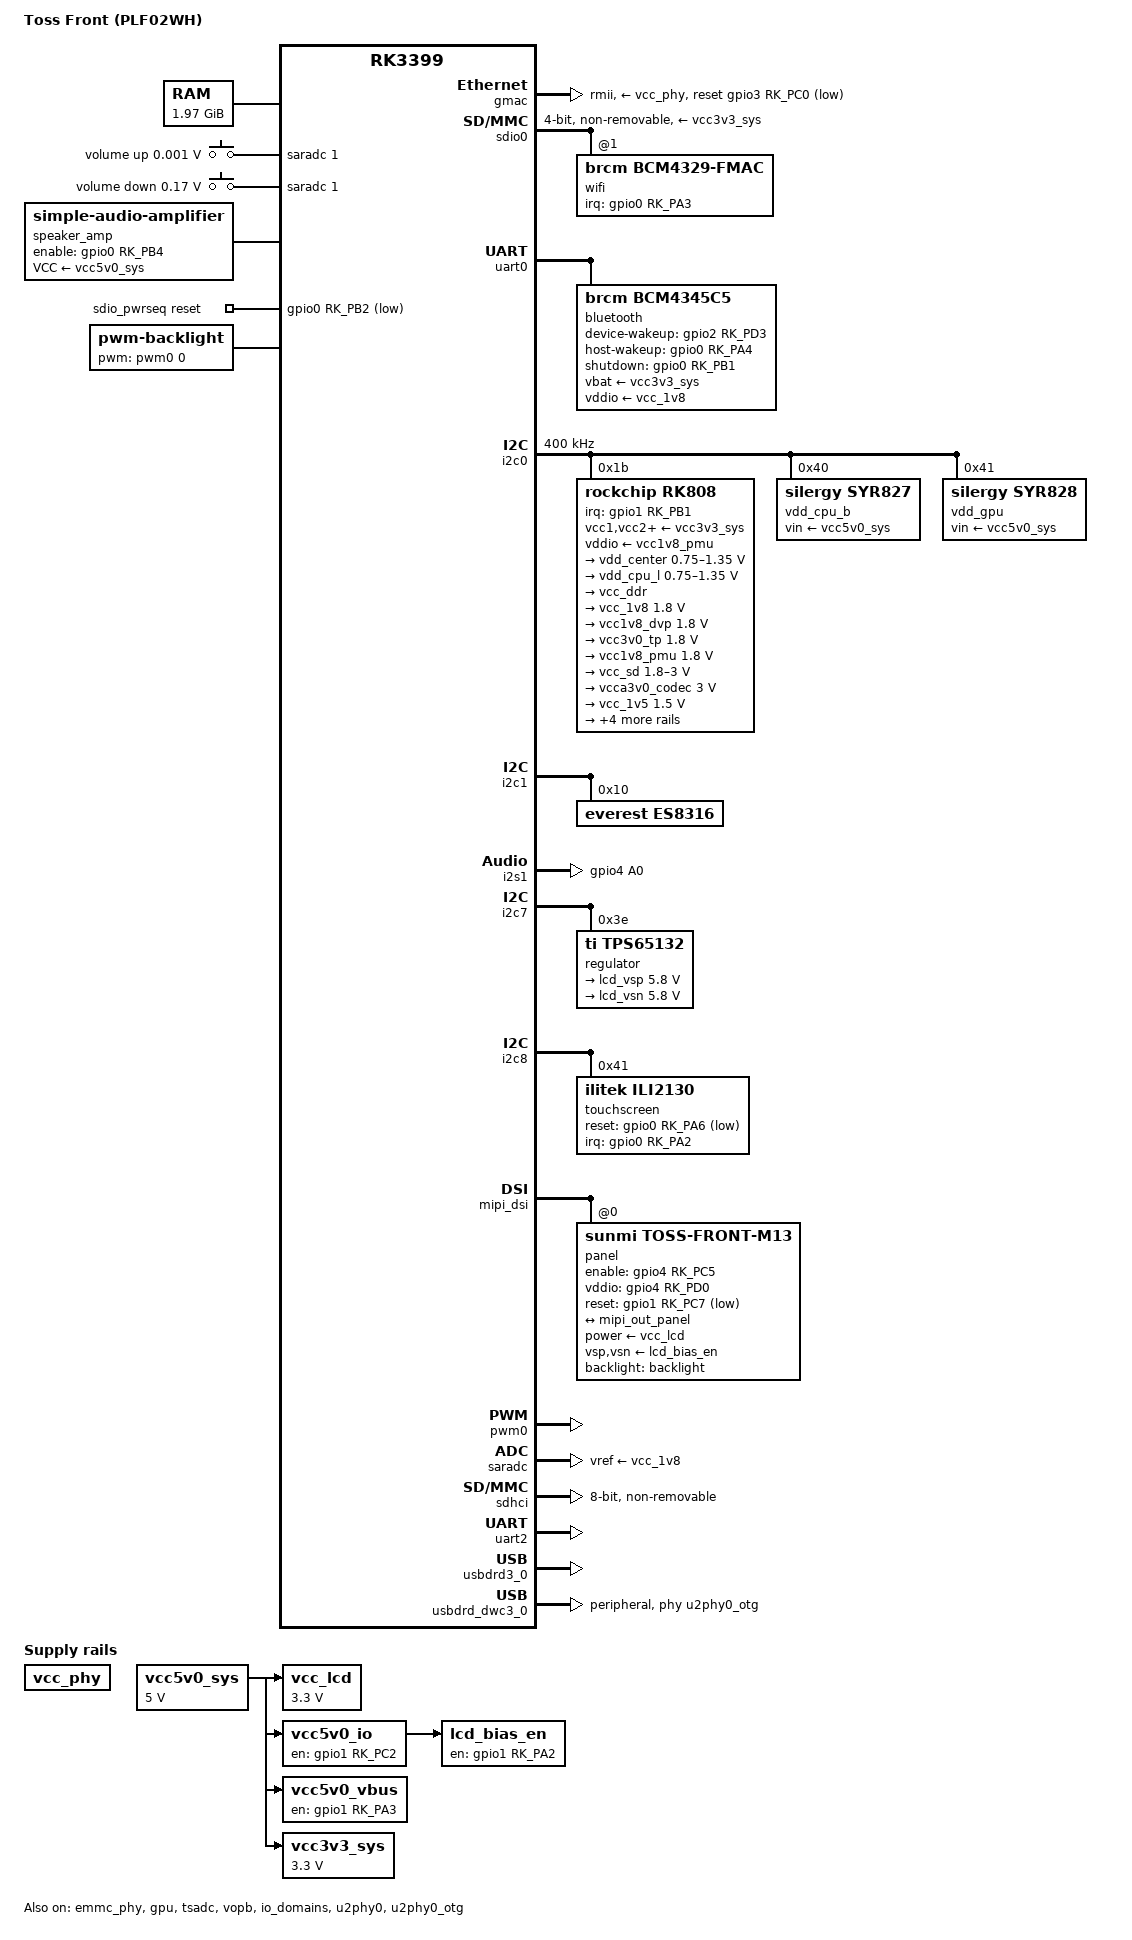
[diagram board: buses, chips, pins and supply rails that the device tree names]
// SPDX-License-Identifier: (GPL-2.0+ OR MIT)
/*
 * 토스 프론트 1.5세대(PLF02WH, SUNMI p681x) — 메인라인 커널용 디바이스 트리
 *
 * 2단계 범위: 디스플레이 없이 부팅해 Micro USB 가젯으로 접속하는 최소 구성.
 * 속성 값은 순정 커널이 실제로 사용하던 디바이스 트리(analysis/device/live-dt.dts)에서 가져왔다.
 *
 * 주의: 순정 U-Boot는 이 DTB를 커널에 전달할 뿐 아니라 자체 드라이버
 * (전원 칩, 버튼, USB)에서도 참조하므로 PMIC와 adc-keys 노드는 순정 구조를 유지한다.
 */

/dts-v1/;
#include <dt-bindings/input/linux-event-codes.h>
#include <dt-bindings/soc/rockchip,boot-mode.h>
#include "rk3399.dtsi"

/ {
	model = "Toss Front (PLF02WH)";
	compatible = "sunmi,toss-front", "rockchip,rk3399";

	aliases {
		mmc0 = &sdhci;
	};

	chosen {
		stdout-path = "serial2:1500000n8";
	};

	memory@200000 {
		device_type = "memory";
		reg = <0x0 0x00200000 0x0 0x08200000>,
		      <0x0 0x0a200000 0x0 0x75e00000>;
	};

	reserved-memory {
		#address-cells = <2>;
		#size-cells = <2>;
		ranges;

		ramoops@110000 {
			compatible = "ramoops";
			reg = <0x0 0x00110000 0x0 0xf0000>;
			record-size = <0x20000>;
			console-size = <0x80000>;
			pmsg-size = <0x50000>;
			ftrace-size = <0x0>;
		};
	};

	adc-keys {
		compatible = "adc-keys";
		io-channels = <&saradc 1>;
		io-channel-names = "buttons";
		keyup-threshold-microvolt = <1800000>;
		poll-interval = <100>;

		vol-up-key {
			label = "volume up";
			linux,code = <KEY_VOLUMEUP>;
			press-threshold-microvolt = <1000>;
		};

		vol-down-key {
			label = "volume down";
			linux,code = <KEY_VOLUMEDOWN>;
			press-threshold-microvolt = <170000>;
		};
	};

	sound {
		compatible = "simple-audio-card";
		simple-audio-card,name = "Toss Front";
		simple-audio-card,format = "i2s";
		simple-audio-card,mclk-fs = <256>;
		simple-audio-card,widgets = "Speaker", "Speaker";
		simple-audio-card,routing =
			"Speaker Amplifier INL", "HPOL",
			"Speaker Amplifier INR", "HPOR",
			"Speaker", "Speaker Amplifier OUTL",
			"Speaker", "Speaker Amplifier OUTR";
		simple-audio-card,aux-devs = <&speaker_amp>;

		simple-audio-card,cpu {
			sound-dai = <&i2s1>;
		};

		simple-audio-card,codec {
			sound-dai = <&es8316>;
		};
	};

	speaker_amp: speaker-amplifier {
		compatible = "simple-audio-amplifier";
		enable-gpios = <&gpio0 RK_PB4 GPIO_ACTIVE_HIGH>;
		sound-name-prefix = "Speaker Amplifier";
		VCC-supply = <&vcc5v0_sys>;
	};

	sdio_pwrseq: sdio-pwrseq {
		compatible = "mmc-pwrseq-simple";
		clocks = <&rk808 1>;
		clock-names = "ext_clock";
		pinctrl-names = "default";
		pinctrl-0 = <&wifi_enable_h>;
		reset-gpios = <&gpio0 RK_PB2 GPIO_ACTIVE_LOW>;
	};

	vcc_phy: regulator-vcc-phy {
		compatible = "regulator-fixed";
		regulator-name = "vcc_phy";
		regulator-always-on;
		regulator-boot-on;
	};

	backlight: backlight {
		compatible = "pwm-backlight";
		pwms = <&pwm0 0 40000 0>;
		brightness-levels = <0 255>;
		num-interpolated-steps = <255>;
		default-brightness-level = <200>;
	};

	vcc_lcd: regulator-vcc-lcd {
		compatible = "regulator-fixed";
		regulator-name = "vcc_lcd";
		regulator-boot-on;
		regulator-min-microvolt = <3300000>;
		regulator-max-microvolt = <3300000>;
		startup-delay-us = <20000>;
		vin-supply = <&vcc5v0_sys>;
	};

	vcc5v0_io: regulator-vcc5v0-io {
		compatible = "regulator-fixed";
		regulator-name = "iov5";
		gpio = <&gpio1 RK_PC2 GPIO_ACTIVE_HIGH>;
		enable-active-high;
		regulator-always-on;
		regulator-boot-on;
		vin-supply = <&vcc5v0_sys>;
	};

	lcd_bias_en: regulator-lcd-bias-en {
		compatible = "regulator-fixed";
		regulator-name = "lcd_bias_en";
		gpio = <&gpio1 RK_PA2 GPIO_ACTIVE_HIGH>;
		enable-active-high;
		startup-delay-us = <10000>;
		vin-supply = <&vcc5v0_io>;
	};

	vcc5v0_vbus: regulator-vcc5v0-vbus {
		compatible = "regulator-fixed";
		regulator-name = "vbus";
		gpio = <&gpio1 RK_PA3 GPIO_ACTIVE_HIGH>;
		enable-active-high;
		regulator-always-on;
		regulator-boot-on;
		vin-supply = <&vcc5v0_sys>;
	};

	vcc5v0_sys: regulator-vcc5v0-sys {
		compatible = "regulator-fixed";
		regulator-name = "vcc5v0_sys";
		regulator-always-on;
		regulator-boot-on;
		regulator-min-microvolt = <5000000>;
		regulator-max-microvolt = <5000000>;
	};

	vcc3v3_sys: regulator-vcc3v3-sys {
		compatible = "regulator-fixed";
		regulator-name = "vcc3v3_sys";
		regulator-always-on;
		regulator-boot-on;
		regulator-min-microvolt = <3300000>;
		regulator-max-microvolt = <3300000>;
		vin-supply = <&vcc5v0_sys>;
	};
};

&cpu_l0 {
	cpu-supply = <&vdd_cpu_l>;
};

&cpu_l1 {
	cpu-supply = <&vdd_cpu_l>;
};

&cpu_l2 {
	cpu-supply = <&vdd_cpu_l>;
};

&cpu_l3 {
	cpu-supply = <&vdd_cpu_l>;
};

&cpu_b0 {
	cpu-supply = <&vdd_cpu_b>;
};

&cpu_b1 {
	cpu-supply = <&vdd_cpu_b>;
};

&emmc_phy {
	status = "okay";
};

&gpu {
	mali-supply = <&vdd_gpu>;
	status = "okay";
};

&tsadc {
	rockchip,hw-tshut-mode = <1>;
	rockchip,hw-tshut-polarity = <1>;
	status = "okay";
};

&gmac {
	assigned-clocks = <&cru SCLK_RMII_SRC>;
	clock_in_out = "output";
	phy-mode = "rmii";
	phy-supply = <&vcc_phy>;
	pinctrl-names = "default";
	pinctrl-0 = <&rmii_pins>;
	snps,reset-gpio = <&gpio3 RK_PC0 GPIO_ACTIVE_LOW>;
	snps,reset-active-low;
	snps,reset-delays-us = <0 10000 150000>;
	tx_delay = <0x22>;
	rx_delay = <0x08>;
	status = "okay";
};

&sdio0 {
	#address-cells = <1>;
	#size-cells = <0>;
	bus-width = <4>;
	cap-sd-highspeed;
	cap-sdio-irq;
	keep-power-in-suspend;
	max-frequency = <50000000>;
	mmc-pwrseq = <&sdio_pwrseq>;
	non-removable;
	pinctrl-names = "default";
	pinctrl-0 = <&sdio0_bus4 &sdio0_cmd &sdio0_clk>;
	sd-uhs-sdr104;
	vmmc-supply = <&vcc3v3_sys>;
	vqmmc-supply = <&vcc_1v8>;
	status = "okay";

	wifi@1 {
		compatible = "brcm,bcm4329-fmac";
		reg = <1>;
		interrupt-parent = <&gpio0>;
		interrupts = <RK_PA3 IRQ_TYPE_LEVEL_HIGH>;
		interrupt-names = "host-wake";
		pinctrl-names = "default";
		pinctrl-0 = <&wifi_host_wake>;
	};
};

&uart0 {
	pinctrl-names = "default";
	pinctrl-0 = <&uart0_xfer &uart0_cts &uart0_rts>;
	uart-has-rtscts;
	status = "okay";

	bluetooth {
		compatible = "brcm,bcm4345c5";
		clocks = <&rk808 1>;
		clock-names = "lpo";
		device-wakeup-gpios = <&gpio2 RK_PD3 GPIO_ACTIVE_HIGH>;
		host-wakeup-gpios = <&gpio0 RK_PA4 GPIO_ACTIVE_HIGH>;
		shutdown-gpios = <&gpio0 RK_PB1 GPIO_ACTIVE_HIGH>;
		max-speed = <1500000>;
		pinctrl-names = "default";
		pinctrl-0 = <&bt_reg_on &bt_dev_wake &bt_host_wake>;
		vbat-supply = <&vcc3v3_sys>;
		vddio-supply = <&vcc_1v8>;
	};
};

&i2c0 {
	clock-frequency = <400000>;
	i2c-scl-rising-time-ns = <168>;
	i2c-scl-falling-time-ns = <4>;
	status = "okay";

	rk808: pmic@1b {
		compatible = "rockchip,rk808";
		reg = <0x1b>;
		interrupt-parent = <&gpio1>;
		interrupts = <RK_PB1 IRQ_TYPE_LEVEL_LOW>;
		#clock-cells = <1>;
		clock-output-names = "rk808-clkout1", "rk808-clkout2";
		pinctrl-names = "default";
		pinctrl-0 = <&pmic_int_l>;
		system-power-controller;
		rockchip,system-power-controller;
		wakeup-source;

		vcc1-supply = <&vcc3v3_sys>;
		vcc2-supply = <&vcc3v3_sys>;
		vcc3-supply = <&vcc3v3_sys>;
		vcc4-supply = <&vcc3v3_sys>;
		vcc6-supply = <&vcc3v3_sys>;
		vcc7-supply = <&vcc3v3_sys>;
		vcc8-supply = <&vcc3v3_sys>;
		vcc9-supply = <&vcc3v3_sys>;
		vcc10-supply = <&vcc3v3_sys>;
		vcc11-supply = <&vcc3v3_sys>;
		vcc12-supply = <&vcc3v3_sys>;
		vddio-supply = <&vcc1v8_pmu>;

		regulators {
			vdd_center: DCDC_REG1 {
				regulator-name = "vdd_center";
				regulator-always-on;
				regulator-boot-on;
				regulator-min-microvolt = <750000>;
				regulator-max-microvolt = <1350000>;
				regulator-ramp-delay = <6001>;
			};

			vdd_cpu_l: DCDC_REG2 {
				regulator-name = "vdd_cpu_l";
				regulator-always-on;
				regulator-boot-on;
				regulator-min-microvolt = <750000>;
				regulator-max-microvolt = <1350000>;
				regulator-ramp-delay = <6001>;
			};

			vcc_ddr: DCDC_REG3 {
				regulator-name = "vcc_ddr";
				regulator-always-on;
				regulator-boot-on;
			};

			vcc_1v8: DCDC_REG4 {
				regulator-name = "vcc_1v8";
				regulator-always-on;
				regulator-boot-on;
				regulator-min-microvolt = <1800000>;
				regulator-max-microvolt = <1800000>;
			};

			vcc1v8_dvp: LDO_REG1 {
				regulator-name = "vcc1v8_dvp";
				regulator-always-on;
				regulator-boot-on;
				regulator-min-microvolt = <1800000>;
				regulator-max-microvolt = <1800000>;
			};

			vcc3v0_tp: LDO_REG2 {
				regulator-name = "vcc3v0_tp";
				regulator-always-on;
				regulator-boot-on;
				regulator-min-microvolt = <1800000>;
				regulator-max-microvolt = <1800000>;
			};

			vcc1v8_pmu: LDO_REG3 {
				regulator-name = "vcc1v8_pmu";
				regulator-always-on;
				regulator-boot-on;
				regulator-min-microvolt = <1800000>;
				regulator-max-microvolt = <1800000>;
			};

			vcc_sd: LDO_REG4 {
				regulator-name = "vcc_sd";
				regulator-always-on;
				regulator-boot-on;
				regulator-min-microvolt = <1800000>;
				regulator-max-microvolt = <3000000>;
			};

			vcca3v0_codec: LDO_REG5 {
				regulator-name = "vcca3v0_codec";
				regulator-always-on;
				regulator-boot-on;
				regulator-min-microvolt = <3000000>;
				regulator-max-microvolt = <3000000>;
			};

			vcc_1v5: LDO_REG6 {
				regulator-name = "vcc_1v5";
				regulator-always-on;
				regulator-boot-on;
				regulator-min-microvolt = <1500000>;
				regulator-max-microvolt = <1500000>;
			};

			vcca1v8_codec: LDO_REG7 {
				regulator-name = "vcca1v8_codec";
				regulator-always-on;
				regulator-boot-on;
				regulator-min-microvolt = <900000>;
				regulator-max-microvolt = <900000>;
			};

			vcc_3v0: LDO_REG8 {
				regulator-name = "vcc_3v0";
				regulator-always-on;
				regulator-boot-on;
				regulator-min-microvolt = <3000000>;
				regulator-max-microvolt = <3000000>;
			};

			vcc3v3_s3: SWITCH_REG1 {
				regulator-name = "vcc3v3_s3";
				regulator-always-on;
				regulator-boot-on;
			};

			vcc3v3_s0: SWITCH_REG2 {
				regulator-name = "vcc3v3_s0";
				regulator-always-on;
				regulator-boot-on;
			};
		};
	};

	vdd_cpu_b: regulator@40 {
		compatible = "silergy,syr827";
		reg = <0x40>;
		fcs,suspend-voltage-selector = <1>;
		pinctrl-names = "default";
		pinctrl-0 = <&vsel1_gpio>;
		regulator-name = "vdd_cpu_b";
		regulator-always-on;
		regulator-boot-on;
		regulator-min-microvolt = <712500>;
		regulator-max-microvolt = <1500000>;
		regulator-ramp-delay = <1000>;
		vin-supply = <&vcc5v0_sys>;
	};

	vdd_gpu: regulator@41 {
		compatible = "silergy,syr828";
		reg = <0x41>;
		fcs,suspend-voltage-selector = <1>;
		pinctrl-names = "default";
		pinctrl-0 = <&vsel2_gpio>;
		regulator-name = "vdd_gpu";
		regulator-always-on;
		regulator-boot-on;
		regulator-min-microvolt = <712500>;
		regulator-max-microvolt = <1500000>;
		regulator-ramp-delay = <1000>;
		vin-supply = <&vcc5v0_sys>;
	};
};

&i2c1 {
	i2c-scl-rising-time-ns = <300>;
	status = "okay";

	es8316: audio-codec@10 {
		compatible = "everest,es8316";
		reg = <0x10>;
		clocks = <&cru SCLK_I2S_8CH_OUT>;
		clock-names = "mclk";
		#sound-dai-cells = <0>;
	};
};

&i2s1 {
	pinctrl-names = "default";
	pinctrl-0 = <&i2s_8ch_mclk_pin>, <&i2s1_2ch_bus>;
	rockchip,capture-channels = <2>;
	rockchip,playback-channels = <2>;
	status = "okay";
};

&i2c7 {
	status = "okay";

	regulator@3e {
		compatible = "ti,tps65132";
		reg = <0x3e>;

		lcd_vsp: outp {
			regulator-name = "lcd_vsp";
			regulator-min-microvolt = <5800000>;
			regulator-max-microvolt = <5800000>;
			regulator-always-on;
			regulator-boot-on;
		};

		lcd_vsn: outn {
			regulator-name = "lcd_vsn";
			regulator-min-microvolt = <5800000>;
			regulator-max-microvolt = <5800000>;
			regulator-always-on;
			regulator-boot-on;
		};
	};
};

&i2c8 {
	status = "okay";

	touchscreen@41 {
		compatible = "ilitek,ili2130";
		reg = <0x41>;
		interrupt-parent = <&gpio0>;
		interrupts = <RK_PA2 IRQ_TYPE_EDGE_RISING>;
		reset-gpios = <&gpio0 RK_PA6 GPIO_ACTIVE_LOW>;
		touchscreen-inverted-x;
		touchscreen-inverted-y;
	};
};

&mipi_dsi {
	status = "okay";

	panel@0 {
		compatible = "sunmi,toss-front-m13";
		reg = <0>;
		backlight = <&backlight>;
		power-supply = <&vcc_lcd>;
		vsp-supply = <&lcd_bias_en>;
		vsn-supply = <&lcd_bias_en>;
		enable-gpios = <&gpio4 RK_PC5 GPIO_ACTIVE_HIGH>;
		vddio-gpios = <&gpio4 RK_PD0 GPIO_ACTIVE_HIGH>;
		reset-gpios = <&gpio1 RK_PC7 GPIO_ACTIVE_LOW>;

		port {
			mipi_in_panel: endpoint {
				remote-endpoint = <&mipi_out_panel>;
			};
		};
	};
};

&mipi_out {
	mipi_out_panel: endpoint {
		remote-endpoint = <&mipi_in_panel>;
	};
};

&pwm0 {
	status = "okay";
};

&vopb {
	status = "okay";
};

&vopb_mmu {
	status = "okay";
};

&io_domains {
	audio-supply = <&vcc1v8_dvp>;
	bt656-supply = <&vcc_1v8>;
	gpio1830-supply = <&vcc_3v0>;
	sdmmc-supply = <&vcc_sd>;
	status = "okay";
};

&pmu_io_domains {
	pmu1830-supply = <&vcc_1v8>;
	status = "okay";
};

&pinctrl {
	audio {
		i2s_8ch_mclk_pin: i2s-8ch-mclk-pin {
			rockchip,pins = <4 RK_PA0 1 &pcfg_pull_none>;
		};
	};

	wireless {
		wifi_enable_h: wifi-enable-h {
			rockchip,pins = <0 RK_PB2 RK_FUNC_GPIO &pcfg_pull_none>;
		};

		wifi_host_wake: wifi-host-wake {
			rockchip,pins = <0 RK_PA3 RK_FUNC_GPIO &pcfg_pull_none>;
		};

		bt_reg_on: bt-reg-on {
			rockchip,pins = <0 RK_PB1 RK_FUNC_GPIO &pcfg_pull_none>;
		};

		bt_dev_wake: bt-dev-wake {
			rockchip,pins = <2 RK_PD3 RK_FUNC_GPIO &pcfg_pull_none>;
		};

		bt_host_wake: bt-host-wake {
			rockchip,pins = <0 RK_PA4 RK_FUNC_GPIO &pcfg_pull_down>;
		};
	};

	pmic {
		pmic_int_l: pmic-int-l {
			rockchip,pins = <1 RK_PB1 RK_FUNC_GPIO &pcfg_pull_up>;
		};

		vsel1_gpio: vsel1-gpio {
			rockchip,pins = <1 RK_PC1 RK_FUNC_GPIO &pcfg_pull_down>;
		};

		vsel2_gpio: vsel2-gpio {
			rockchip,pins = <1 RK_PB6 RK_FUNC_GPIO &pcfg_pull_down>;
		};
	};
};

&pmugrf {
	reboot-mode {
		compatible = "syscon-reboot-mode";
		offset = <0x300>;
		mode-bootloader = <BOOT_BL_DOWNLOAD>;
		mode-fastboot = <BOOT_FASTBOOT>;
		mode-loader = <BOOT_BL_DOWNLOAD>;
		mode-normal = <BOOT_NORMAL>;
		mode-recovery = <BOOT_RECOVERY>;
	};
};

&saradc {
	vref-supply = <&vcc_1v8>;
	status = "okay";
};

&sdhci {
	bus-width = <8>;
	mmc-hs400-1_8v;
	mmc-hs400-enhanced-strobe;
	non-removable;
	status = "okay";
};

&uart2 {
	status = "okay";
};

&u2phy0 {
	status = "okay";
};

&u2phy0_otg {
	status = "okay";
};

&usbdrd3_0 {
	status = "okay";
};

&usbdrd_dwc3_0 {
	dr_mode = "peripheral";
	maximum-speed = "high-speed";
	phys = <&u2phy0_otg>;
	phy-names = "usb2-phy";
	status = "okay";
};
